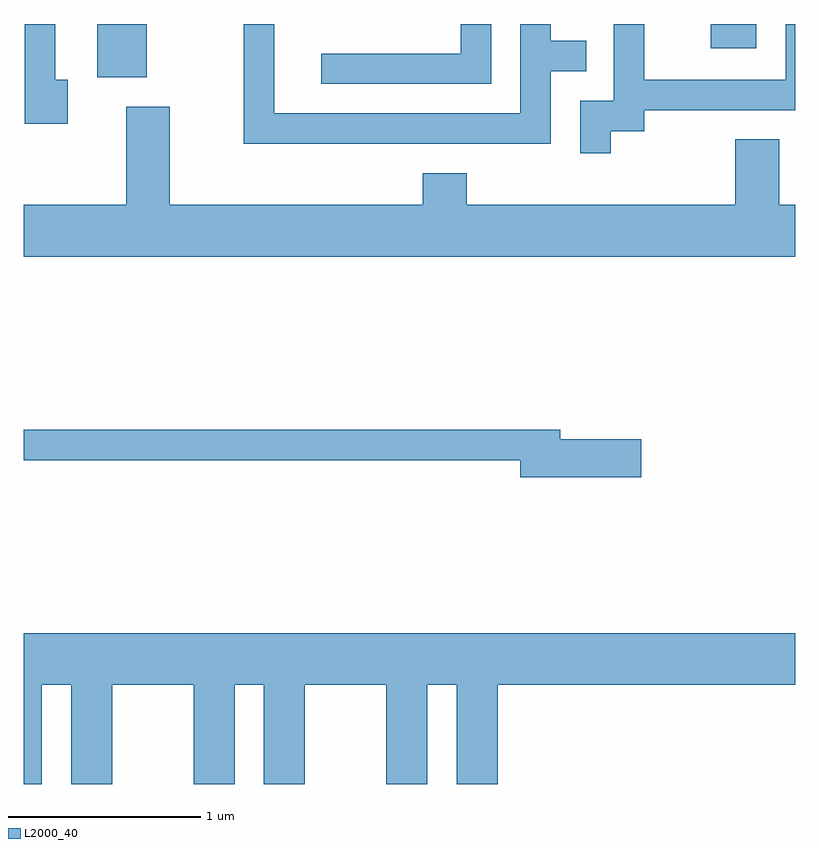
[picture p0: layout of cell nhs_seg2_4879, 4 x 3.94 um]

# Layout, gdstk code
import gdstk
lib = gdstk.Library(unit=1e-6, precision=1e-09)
def R(c, l, rs):  # rectangles x0, y0, x1, y1
    for r in rs: c.add(gdstk.rectangle(r[:2], r[2:], *l))
def P(c, l, *ps):  # polygons
    for p in ps: c.add(gdstk.Polygon(p, *l))
L2000_40 = (2000, 40)

nhs_seg2_4879 = lib.new_cell('nhs_seg2_4879')
R(nhs_seg2_4879, L2000_40, [(329.991,991.526,330.249,991.802), (333.173,991.676,333.409,991.802)])
P(nhs_seg2_4879, L2000_40, [(329.839,991.514),(329.774,991.514),(329.774,991.802),(329.616,991.802),(329.616,991.286),(329.839,991.286)],
  [(332.034,991.802),(331.876,991.802),(331.876,991.649),(331.153,991.649),(331.153,991.491),(332.034,991.491)],
  [(332.344,991.556),(332.528,991.556),(332.528,991.714),(332.344,991.714),(332.344,991.802),(332.186,991.802),(332.186,991.339),(330.909,991.339),(330.909,991.802),(330.751,991.802),(330.751,991.181),(332.344,991.181)],
  [(332.654,991.246),(332.829,991.246),(332.829,991.356),(333.611,991.356),(333.611,991.802),(333.561,991.802),(333.561,991.514),(332.829,991.514),(332.829,991.802),(332.671,991.802),(332.671,991.404),(332.496,991.404),(332.496,991.133),(332.654,991.133)],
  [(333.611,990.864),(333.529,990.864),(333.529,991.204),(333.301,991.204),(333.301,990.864),(331.909,990.864),(331.909,991.029),(331.681,991.029),(331.681,990.864),(330.369,990.864),(330.369,991.374),(330.141,991.374),(330.141,990.864),(329.611,990.864),(329.611,990.596),(333.611,990.596)],
  [(332.814,989.649),(332.394,989.649),(332.394,989.699),(329.611,989.699),(329.611,989.541),(332.186,989.541),(332.186,989.451),(332.814,989.451)],
  [(329.704,988.376),(329.856,988.376),(329.856,987.861),(330.069,987.861),(330.069,988.376),(330.491,988.376),(330.491,987.861),(330.704,987.861),(330.704,988.376),(330.856,988.376),(330.856,987.861),(331.069,987.861),(331.069,988.376),(331.491,988.376),(331.491,987.861),(331.704,987.861),(331.704,988.376),(331.856,988.376),(331.856,987.861),(332.069,987.861),(332.069,988.376),(333.611,988.376),(333.611,988.644),(329.611,988.644),(329.611,987.861),(329.704,987.861)])

lib.write_gds('nhs_seg2_4879.gds')
